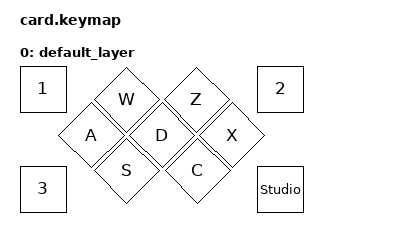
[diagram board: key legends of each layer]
#include <behaviors.dtsi>
#include <dt-bindings/zmk/keys.h>

/ {
    keymap {
        compatible = "zmk,keymap";

        default_layer { // Layer 0
            // --------------------------
            // | [1]   [W] [Z]      [2] |
            // |     [A] [D] [X]        |
            // | [3]   [S] [C] [STUDIO] |
            // --------------------------
            bindings = <
                &kp NUMBER_2
                &studio_unlock
                &kp X
                &kp Z
                &kp D   
                &kp S    
                &kp C
                &kp NUMBER_3           
                &kp A
                &kp W        
                &kp NUMBER_1
            >;
        };
    };
 };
